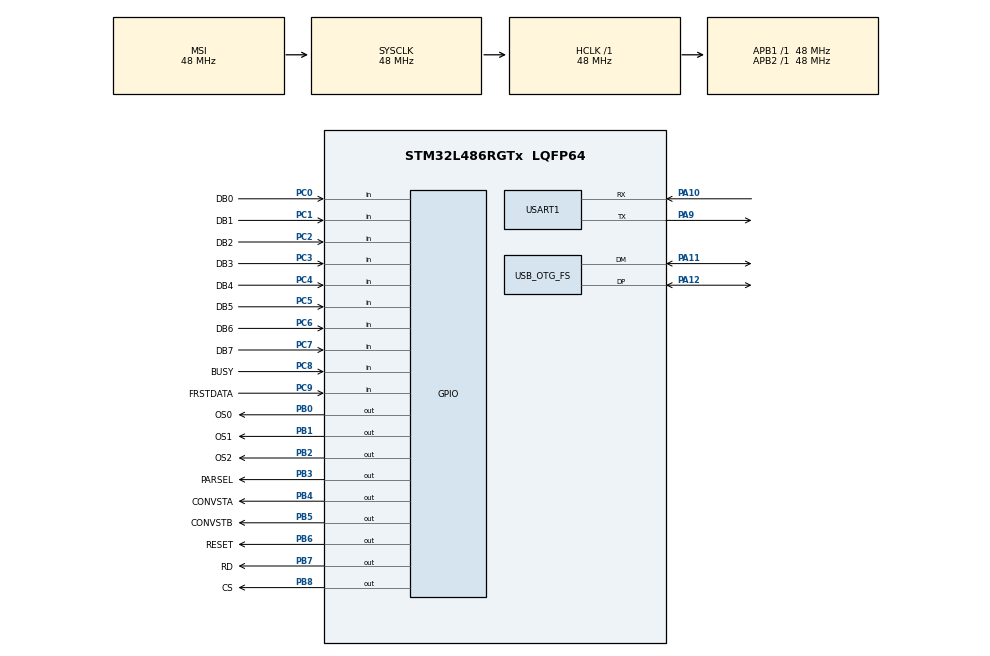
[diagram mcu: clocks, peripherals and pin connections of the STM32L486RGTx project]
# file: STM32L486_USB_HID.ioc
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Mcu.Family=STM32L4
Mcu.Name=STM32L486RGTx
Mcu.Package=LQFP64
NVIC.OTG_FS_IRQn=true\:0\:0\:false\:false\:true\:false
NVIC.PriorityGroup=NVIC_PRIORITYGROUP_4
NVIC.USART1_IRQn=true\:0\:0\:false\:false\:true\:true
PA10.Mode=Asynchronous
PA10.Signal=USART1_RX
PA11.Mode=Device_Only
PA11.Signal=USB_OTG_FS_DM
PA12.Mode=Device_Only
PA12.Signal=USB_OTG_FS_DP
PA13\ (JTMS-SWDIO).Mode=Serial_Wire
PA13\ (JTMS-SWDIO).Signal=SYS_JTMS-SWDIO
PA14\ (JTCK-SWCLK).Mode=Serial_Wire
PA14\ (JTCK-SWCLK).Signal=SYS_JTCK-SWCLK
PA9.Mode=Asynchronous
PA9.Signal=USART1_TX
PB0.GPIO_Label=OS0
PB0.GPIO_ModeDefaultOutputPP=GPIO_MODE_OUTPUT_PP
PB0.GPIO_Speed=GPIO_SPEED_FREQ_VERY_HIGH
PB0.PinState=GPIO_PIN_RESET
PB0.Signal=GPIO_Output
PB1.GPIO_Label=OS1
PB1.GPIO_ModeDefaultOutputPP=GPIO_MODE_OUTPUT_PP
PB1.GPIO_Speed=GPIO_SPEED_FREQ_VERY_HIGH
PB1.PinState=GPIO_PIN_RESET
PB1.Signal=GPIO_Output
PB2.GPIO_Label=OS2
PB2.GPIO_ModeDefaultOutputPP=GPIO_MODE_OUTPUT_PP
PB2.GPIO_Speed=GPIO_SPEED_FREQ_VERY_HIGH
PB2.PinState=GPIO_PIN_RESET
PB2.Signal=GPIO_Output
PB3\ (JTDO-TRACESWO).GPIO_Label=PARSEL
PB3\ (JTDO-TRACESWO).GPIO_ModeDefaultOutputPP=GPIO_MODE_OUTPUT_PP
PB3\ (JTDO-TRACESWO).GPIO_Speed=GPIO_SPEED_FREQ_VERY_HIGH
PB3\ (JTDO-TRACESWO).PinState=GPIO_PIN_RESET
PB3\ (JTDO-TRACESWO).Signal=GPIO_Output
PB4\ (NJTRST).GPIO_Label=CONVSTA
PB4\ (NJTRST).GPIO_ModeDefaultOutputPP=GPIO_MODE_OUTPUT_PP
PB4\ (NJTRST).GPIO_Speed=GPIO_SPEED_FREQ_VERY_HIGH
PB4\ (NJTRST).PinState=GPIO_PIN_RESET
PB4\ (NJTRST).Signal=GPIO_Output
PB5.GPIO_Label=CONVSTB
PB5.GPIO_ModeDefaultOutputPP=GPIO_MODE_OUTPUT_PP
PB5.GPIO_Speed=GPIO_SPEED_FREQ_VERY_HIGH
PB5.PinState=GPIO_PIN_RESET
PB5.Signal=GPIO_Output
PB6.GPIO_FM6=__NULL
PB6.GPIO_Label=RESET
PB6.GPIO_ModeDefaultOutputPP=GPIO_MODE_OUTPUT_PP
PB6.GPIO_Speed=GPIO_SPEED_FREQ_VERY_HIGH
PB6.PinState=GPIO_PIN_RESET
PB6.Signal=GPIO_Output
PB7.GPIO_Label=RD
PB7.GPIO_ModeDefaultOutputPP=GPIO_MODE_OUTPUT_PP
PB7.GPIO_Speed=GPIO_SPEED_FREQ_VERY_HIGH
PB7.PinState=GPIO_PIN_RESET
PB7.Signal=GPIO_Output
PB8.GPIO_Label=CS
PB8.GPIO_ModeDefaultOutputPP=GPIO_MODE_OUTPUT_PP
PB8.GPIO_Speed=GPIO_SPEED_FREQ_VERY_HIGH
PB8.PinState=GPIO_PIN_RESET
PB8.Signal=GPIO_Output
PC0.GPIO_Label=DB0
PC0.Signal=GPIO_Input
PC1.GPIO_Label=DB1
PC1.Signal=GPIO_Input
PC2.GPIO_Label=DB2
PC2.Signal=GPIO_Input
PC3.GPIO_Label=DB3
PC3.Signal=GPIO_Input
PC4.GPIO_Label=DB4
PC4.Signal=GPIO_Input
PC5.GPIO_Label=DB5
PC5.Signal=GPIO_Input
PC6.GPIO_Label=DB6
PC6.Signal=GPIO_Input
PC7.GPIO_Label=DB7
PC7.Signal=GPIO_Input
PC8.GPIO_Label=BUSY
PC8.Signal=GPIO_Input
PC9.GPIO_Label=FRSTDATA
PC9.Signal=GPIO_Input
ProjectManager.HeapSize=0x200
ProjectManager.StackSize=0x400
ProjectManager.TargetToolchain=TrueSTUDIO
RCC.ADCFreq_Value=576000000
RCC.AHBFreq_Value=48000000
RCC.APB1Freq_Value=48000000
RCC.APB1TimFreq_Value=48000000
RCC.APB2Freq_Value=48000000
RCC.APB2TimFreq_Value=48000000
RCC.CK48CLockSelection=RCC_USBCLKSOURCE_MSI
RCC.CortexFreq_Value=48000000
RCC.HCLKFreq_Value=48000000
RCC.HSE_VALUE=8000000
RCC.HSI_VALUE=16000000
RCC.LSE_VALUE=32768
RCC.MSIClockRange=RCC_MSIRANGE_11
RCC.MSI_VALUE=48000000
RCC.PLLN=40
RCC.PLLSAI1N=24
RCC.SYSCLKFreq_VALUE=48000000
RCC.USBFreq_Value=48000000
RCC.VCOOutputFreq_Value=1920000000
USART1.VirtualMode-Asynchronous=VM_ASYNC
USART1.WordLength=WORDLENGTH_8B
USB_DEVICE.CLASS_NAME_FS=CUSTOMHID
USB_DEVICE.USBD_CUSTOMHID_OUTREPORT_BUF_SIZE=8
USB_DEVICE.USBD_CUSTOM_HID_REPORT_DESC_SIZE=38
USB_DEVICE.USBD_LPM_ENABLED=0
USB_DEVICE.VirtualMode=CustomHid
USB_DEVICE.VirtualModeFS=Custom_Hid_FS
USB_OTG_FS.VirtualMode=Device_Only
VP_USB_DEVICE_VS_USB_DEVICE_CUSTOM_HID_FS.Mode=CUSTOM_HID_FS
board=STM32L486_USB_HID

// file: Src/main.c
/**
  ******************************************************************************
  * @file           : main.c
  * @brief          : Main program body
  ******************************************************************************
  * This notice applies to any and all portions of this file
  * that are not between comment pairs USER CODE BEGIN and
  * USER CODE END. Other portions of this file, whether
  * inserted by the user or by software development tools
  * are owned by their respective copyright owners.
  *
  * Copyright (c) 2018 STMicroelectronics International N.V.
  * All rights reserved.
  *
  * Redistribution and use in source and binary forms, with or without
  * modification, are permitted, provided that the following conditions are met:
  *
  * 1. Redistribution of source code must retain the above copyright notice,
  *    this list of conditions and the following disclaimer.
  * 2. Redistributions in binary form must reproduce the above copyright notice,
  *    this list of conditions and the following disclaimer in the documentation
  *    and/or other materials provided with the distribution.
  * 3. Neither the name of STMicroelectronics nor the names of other
  *    contributors to this software may be used to endorse or promote products
  *    derived from this software without specific written permission.
  * 4. This software, including modifications and/or derivative works of this
  *    software, must execute solely and exclusively on microcontroller or
  *    microprocessor devices manufactured by or for STMicroelectronics.
  * 5. Redistribution and use of this software other than as permitted under
  *    this license is void and will automatically terminate your rights under
  *    this license.
  *
  * THIS SOFTWARE IS PROVIDED BY STMICROELECTRONICS AND CONTRIBUTORS "AS IS"
  * AND ANY EXPRESS, IMPLIED OR STATUTORY WARRANTIES, INCLUDING, BUT NOT
  * LIMITED TO, THE IMPLIED WARRANTIES OF MERCHANTABILITY, FITNESS FOR A
  * PARTICULAR PURPOSE AND NON-INFRINGEMENT OF THIRD PARTY INTELLECTUAL PROPERTY
  * RIGHTS ARE DISCLAIMED TO THE FULLEST EXTENT PERMITTED BY LAW. IN NO EVENT
  * SHALL STMICROELECTRONICS OR CONTRIBUTORS BE LIABLE FOR ANY DIRECT, INDIRECT,
  * INCIDENTAL, SPECIAL, EXEMPLARY, OR CONSEQUENTIAL DAMAGES (INCLUDING, BUT NOT
  * LIMITED TO, PROCUREMENT OF SUBSTITUTE GOODS OR SERVICES; LOSS OF USE, DATA,
  * OR PROFITS; OR BUSINESS INTERRUPTION) HOWEVER CAUSED AND ON ANY THEORY OF
  * LIABILITY, WHETHER IN CONTRACT, STRICT LIABILITY, OR TORT (INCLUDING
  * NEGLIGENCE OR OTHERWISE) ARISING IN ANY WAY OUT OF THE USE OF THIS SOFTWARE,
  * EVEN IF ADVISED OF THE POSSIBILITY OF SUCH DAMAGE.
  *
  ******************************************************************************
  */
#include "main.h"
#include "stm32l4xx_hal.h"
#include "usart.h"
#include "usb_device.h"
#include "gpio.h"

/* USER CODE BEGIN Includes */
#include "usbd_customhid.h"
#include "DWT_us.h"
/* USER CODE END Includes */

/* USER CODE BEGIN PV */
/* Private variables ---------------------------------------------------------*/

/* USER CODE END PV */

void SystemClock_Config(void);

/* USER CODE BEGIN PFP */
/* Private function prototypes -----------------------------------------------*/

/* USER CODE END PFP */

/* USER CODE BEGIN 0 */
extern USBD_HandleTypeDef hUsbDeviceFS;
/* USER CODE END 0 */

int main(void)
{

  /* MCU Configuration----------------------------------------------------------*/

  /* Reset of all peripherals, Initializes the Flash interface and the Systick. */
  HAL_Init();

  /* Configure the system clock */
  SystemClock_Config();

  /* USER CODE BEGIN SysInit */
  DWT_Delay_Init();
  /* USER CODE END SysInit */

  /* Initialize all configured peripherals */
  MX_GPIO_Init();
  MX_USART1_UART_Init();
  MX_USB_DEVICE_Init();
  /* USER CODE BEGIN 2 */
  __HAL_UART_ENABLE_IT(&huart1, UART_IT_RXNE);
  /* USER CODE END 2 */

  /* Infinite loop */
  /* USER CODE BEGIN WHILE */
  RESET_H;
  CS_H;
  RD_H;
  CONVSTA_H;
  CONVSTB_H;
  OS0_L;
  OS1_L;
  OS2_L;
  PARSEL_H;
  DWT_Delay_us(1000);
  RESET_L;
  DWT_Delay_us(1000);

  char cmd[8];
  uint32_t data;
  int i;
  while (1)
  {
  /* USER CODE END WHILE */

  /* USER CODE BEGIN 3 */
	  data = 0;
	  CONVSTA_L;
	  CONVSTB_L;
	  DWT_Delay_us(1);
	  CONVSTA_H;
	  CONVSTB_H;
	  while ((BUSY_GPIO_Port->IDR & BUSY_Pin)==BUSY_Pin){};

	  CS_L;
	  RD_L;
	  data |= (DB0_GPIO_Port->IDR & 0x000000FF);
	  RD_H;
	  data = data<<8;
	  RD_L;
	  data |= (DB0_GPIO_Port->IDR & 0x000000FF);
	  RD_H;
	  data = data<<8;
	  RD_L;
	  data |= (DB0_GPIO_Port->IDR & 0x000000FF);
	  RD_H;
	  for (i=0;i<21;i++){
		  RD_L;
		  RD_H;
	  }
	  CS_H;

	  itoa(data,cmd,10);
	  USBD_CUSTOM_HID_SendReport(&hUsbDeviceFS,(uint8_t *)cmd, strlen(cmd));
	  DWT_Delay_us(500000);
  }
  /* USER CODE END 3 */

}

void SystemClock_Config(void)
{

  RCC_OscInitTypeDef RCC_OscInitStruct;
  RCC_ClkInitTypeDef RCC_ClkInitStruct;
  RCC_PeriphCLKInitTypeDef PeriphClkInit;

    /**Initializes the CPU, AHB and APB busses clocks
    */
  RCC_OscInitStruct.OscillatorType = RCC_OSCILLATORTYPE_MSI;
  RCC_OscInitStruct.MSIState = RCC_MSI_ON;
  RCC_OscInitStruct.MSICalibrationValue = 0;
  RCC_OscInitStruct.MSIClockRange = RCC_MSIRANGE_11;
  RCC_OscInitStruct.PLL.PLLState = RCC_PLL_NONE;
  if (HAL_RCC_OscConfig(&RCC_OscInitStruct) != HAL_OK)
  {
    _Error_Handler(__FILE__, __LINE__);
  }

    /**Initializes the CPU, AHB and APB busses clocks
    */
  RCC_ClkInitStruct.ClockType = RCC_CLOCKTYPE_HCLK|RCC_CLOCKTYPE_SYSCLK
                              |RCC_CLOCKTYPE_PCLK1|RCC_CLOCKTYPE_PCLK2;
  RCC_ClkInitStruct.SYSCLKSource = RCC_SYSCLKSOURCE_MSI;
  RCC_ClkInitStruct.AHBCLKDivider = RCC_SYSCLK_DIV1;
  RCC_ClkInitStruct.APB1CLKDivider = RCC_HCLK_DIV1;
  RCC_ClkInitStruct.APB2CLKDivider = RCC_HCLK_DIV1;

  if (HAL_RCC_ClockConfig(&RCC_ClkInitStruct, FLASH_LATENCY_2) != HAL_OK)
  {
    _Error_Handler(__FILE__, __LINE__);
  }

  PeriphClkInit.PeriphClockSelection = RCC_PERIPHCLK_USART1|RCC_PERIPHCLK_USB;
  PeriphClkInit.Usart1ClockSelection = RCC_USART1CLKSOURCE_PCLK2;
  PeriphClkInit.UsbClockSelection = RCC_USBCLKSOURCE_MSI;
  if (HAL_RCCEx_PeriphCLKConfig(&PeriphClkInit) != HAL_OK)
  {
    _Error_Handler(__FILE__, __LINE__);
  }

    /**Configure the main internal regulator output voltage
    */
  if (HAL_PWREx_ControlVoltageScaling(PWR_REGULATOR_VOLTAGE_SCALE1) != HAL_OK)
  {
    _Error_Handler(__FILE__, __LINE__);
  }

    /**Configure the Systick interrupt time
    */
  HAL_SYSTICK_Config(HAL_RCC_GetHCLKFreq()/1000);

    /**Configure the Systick
    */
  HAL_SYSTICK_CLKSourceConfig(SYSTICK_CLKSOURCE_HCLK);

  /* SysTick_IRQn interrupt configuration */
  HAL_NVIC_SetPriority(SysTick_IRQn, 0, 0);
}

void _Error_Handler(char *file, int line)
{
  while(1)
  {
  }
}

/************************ (C) COPYRIGHT STMicroelectronics *****END OF FILE****/
